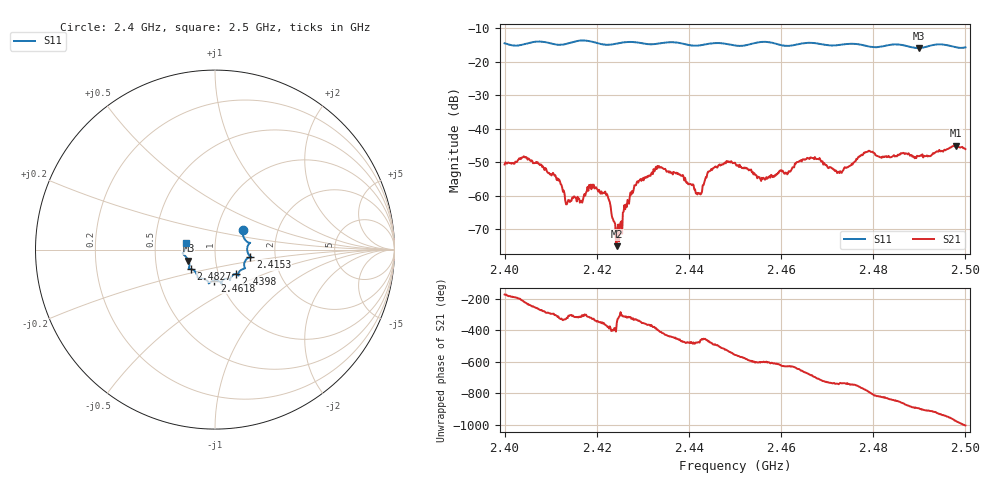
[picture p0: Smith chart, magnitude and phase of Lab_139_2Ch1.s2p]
# Hz S RI R 50
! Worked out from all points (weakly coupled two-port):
!   601 points, 2.4 GHz to 2.5 GHz, reference 50 ohm
!   highest |S21| = -45.02 dB at 2.498 GHz (marker M1); lowest = -75.0 dB at 2.4243 GHz (marker M2)
!   lowest |S11| = -15.9 dB at 2.4898 GHz (marker M3), VSWR 1.38, Z = 36.9 - j4.61 ohm
!   |S11| at or under -10 dB: start of sweep to end of sweep
!   S12 and S22 are empty: the file has one direction only
!   S11 on the Smith chart (normalised r, x): 2.4 GHz: 1.33, +0.29; 2.4153 GHz: 1.48, -0.12; 2.4398 GHz: 1.21, -0.34; 2.4618 GHz: 0.94, -0.33; 2.4827 GHz: 0.75, -0.17; 2.5 GHz: 0.72, +0.06
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2.4e9  0.1554 0.1068  -0.00292 -0.000321  0 0  0 0
2.407333e9  0.1962 0.0381  -0.000322 0.003  0 0  0 0
2.415333e9  0.1971 -0.0396  0.000691 0.000638  0 0  0 0
2.416667e9  0.2027 -0.0439  0.000608 0.000591  0 0  0 0
2.418833e9  0.1953 -0.0427  0.000989 0.000778  0 0  0 0
2.421833e9  0.1684 -0.0626  0.00116 -8.99e-05  0 0  0 0
2.424333e9  0.1628 -0.0912  0.000178 1.46e-05  0 0  0 0
2.428667e9  0.1636 -0.1051  0.00141 0.000713  0 0  0 0
2.433333e9  0.1298 -0.1338  0.00198 -0.00175  0 0  0 0
2.439833e9  0.1153 -0.1358  -0.000722 -0.00131  0 0  0 0
2.442333e9  0.0926 -0.1487  -0.00052 -0.000969  0 0  0 0
2.444667e9  0.0839 -0.1668  -0.00111 -0.0021  0 0  0 0
2.45e9  0.0656 -0.162  -0.00298 0.00093  0 0  0 0
2.461833e9  -0.00361 -0.1729  -0.000101 0.00231  0 0  0 0
2.466667e9  -0.0348 -0.188  0.00303 0.00211  0 0  0 0
2.472667e9  -0.0775 -0.1601  0.00207 -0.000723  0 0  0 0
2.478667e9  -0.1019 -0.1374  0.00196 -0.0041  0 0  0 0
2.482667e9  -0.1351 -0.1085  -0.00132 -0.00365  0 0  0 0
2.483333e9  -0.1402 -0.108  -0.00173 -0.00355  0 0  0 0
2.489833e9  -0.1478 -0.061  -0.00392 -0.000288  0 0  0 0
2.498e9  -0.1637 0.00512  -0.00115 0.00549  0 0  0 0
2.5e9  -0.159 0.0387  0.00128 0.00482  0 0  0 0
